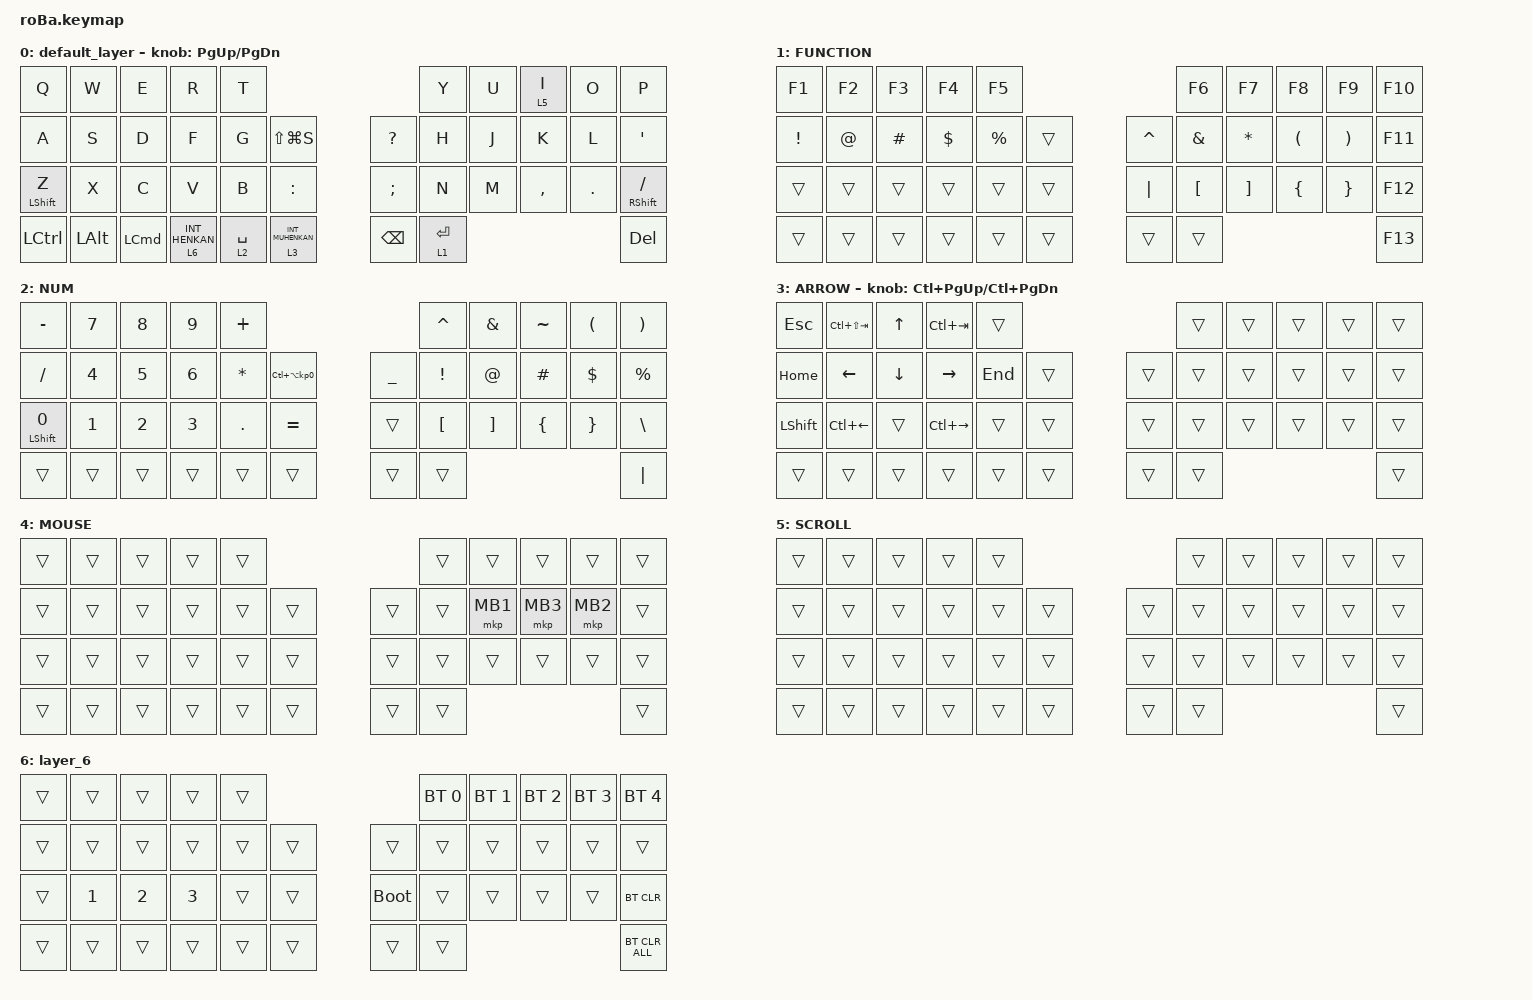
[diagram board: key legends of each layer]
#include <behaviors.dtsi>
#include <dt-bindings/zmk/bt.h>
#include <dt-bindings/zmk/keys.h>
#include <dt-bindings/zmk/pointing.h>

&mt {
    flavor = "balanced";
    quick-tap-ms = <0>;
};

&trackball {
    automouse-layer = <4>;
    scroll-layers = <5>;

    // arrows {
    //     layers = <3>;
    //     bindings =
    //         <&kp RIGHT_ARROW>,
    //         <&kp LEFT_ARROW>,
    //         <&kp UP_ARROW>,
    //         <&kp DOWN_ARROW>;
    //     tick = <10>;
    //     wait-ms = <5>;
    //     tap-ms = <5>;
    // };
};

/ {
    combos {
        compatible = "zmk,combos";

        tab {
            bindings = <&kp TAB>;
            key-positions = <11 10>;
        };

        shift_tab {
            bindings = <&kp LS(TAB)>;
            key-positions = <22 23>;
        };

        muhennkann {
            bindings = <&to_layer_0 INT_MUHENKAN>;
            key-positions = <0 1>;
        };

        double_quotation {
            bindings = <&kp DOUBLE_QUOTES>;
            key-positions = <20 21>;
        };

        eq {
            bindings = <&kp EQUAL>;
            key-positions = <24 25>;
        };
    };

    macros {
        to_layer_0: to_layer_0 {
            compatible = "zmk,behavior-macro-one-param";
            #binding-cells = <1>;
            bindings = <&to 0 &macro_param_1to1 &kp MACRO_PLACEHOLDER>;
            label = "TO_LAYER_0";
        };
    };

    behaviors {
        lt_to_layer_0: lt_to_layer_0 {
            compatible = "zmk,behavior-hold-tap";
            label = "LAYER_TAP_TO_0";
            bindings = <&mo>, <&to_layer_0>;

            #binding-cells = <2>;
            tapping-term-ms = <200>;
        };
    };

    keymap {
        compatible = "zmk,keymap";

        default_layer {
            bindings = <
&kp Q             &kp W         &kp E             &kp R                        &kp T                                                          &kp Y        &kp U  &lt 5 I    &kp O    &kp P
&kp A             &kp S         &kp D             &kp F                        &kp G        &kp LS(LG(S))                      &kp QUESTION   &kp H        &kp J  &kp K      &kp L    &kp SQT
&mt LEFT_SHIFT Z  &kp X         &kp C             &kp V                        &kp B        &kp COLON                          &kp SEMICOLON  &kp N        &kp M  &kp COMMA  &kp DOT  &mt RIGHT_SHIFT SLASH
&kp LCTRL         &kp LEFT_ALT  &kp LEFT_COMMAND  &lt_to_layer_0 6 INT_HENKAN  &lt 2 SPACE  &lt_to_layer_0 3 INT_MUHENKAN      &kp BACKSPACE  &lt 1 ENTER                             &kp DEL
            >;

            sensor-bindings = <&inc_dec_kp PG_UP PAGE_DOWN>;
        };

        FUNCTION {
            bindings = <
&kp F1           &kp F2       &kp F3    &kp F4      &kp F5                              &kp F6            &kp F7             &kp F8                &kp F9                 &kp F10
&kp EXCLAMATION  &kp AT_SIGN  &kp HASH  &kp DOLLAR  &kp PERCENT  &trans      &kp CARET  &kp AMPERSAND     &kp ASTERISK       &kp LEFT_PARENTHESIS  &kp RIGHT_PARENTHESIS  &kp F11
&trans           &trans       &trans    &trans      &trans       &trans      &kp PIPE   &kp LEFT_BRACKET  &kp RIGHT_BRACKET  &kp LEFT_BRACE        &kp RIGHT_BRACE        &kp F12
&trans           &trans       &trans    &trans      &trans       &trans      &trans     &trans                                                                            &kp F13
            >;
        };

        NUM {
            bindings = <
&kp MINUS                &kp NUMBER_7  &kp NUMBER_8  &kp NUMBER_9  &kp PLUS                                                   &kp CARET         &kp AMPERSAND      &kp TILDE       &kp LEFT_PARENTHESIS  &kp RIGHT_PARENTHESIS
&kp SLASH                &kp NUMBER_4  &kp NUMBER_5  &kp NUMBER_6  &kp ASTERISK  &kp LC(LA(KP_NUMBER_0))      &kp UNDERSCORE  &kp EXCLAMATION   &kp AT_SIGN        &kp HASH        &kp DOLLAR            &kp PERCENT
&mt LEFT_SHIFT NUMBER_0  &kp NUMBER_1  &kp NUMBER_2  &kp NUMBER_3  &kp PERIOD    &kp EQUAL                    &trans          &kp LEFT_BRACKET  &kp RIGHT_BRACKET  &kp LEFT_BRACE  &kp RIGHT_BRACE       &kp BACKSLASH
&trans                   &trans        &trans        &trans        &trans        &trans                       &trans          &trans                                                                     &kp PIPE
            >;
        };

        ARROW {
            bindings = <
&kp ESCAPE      &kp LC(LS(TAB))     &kp UP_ARROW    &kp LC(TAB)          &trans                       &trans  &trans  &trans  &trans  &trans
&kp HOME        &kp LEFT_ARROW      &kp DOWN_ARROW  &kp RIGHT_ARROW      &kp END  &trans      &trans  &trans  &trans  &trans  &trans  &trans
&kp LEFT_SHIFT  &kp LC(LEFT_ARROW)  &trans          &kp LC(RIGHT_ARROW)  &trans   &trans      &trans  &trans  &trans  &trans  &trans  &trans
&trans          &trans              &trans          &trans               &trans   &trans      &trans  &trans                          &trans
            >;

            sensor-bindings = <&inc_dec_kp LC(PAGE_UP) LC(PAGE_DOWN)>;
        };

        MOUSE {
            bindings = <
&trans  &trans  &trans  &trans  &trans                      &trans  &trans    &trans    &trans    &trans
&trans  &trans  &trans  &trans  &trans  &trans      &trans  &trans  &mkp MB1  &mkp MB3  &mkp MB2  &trans
&trans  &trans  &trans  &trans  &trans  &trans      &trans  &trans  &trans    &trans    &trans    &trans
&trans  &trans  &trans  &trans  &trans  &trans      &trans  &trans                                &trans
            >;
        };

        SCROLL {
            bindings = <
&trans  &trans  &trans  &trans  &trans                      &trans  &trans  &trans  &trans  &trans
&trans  &trans  &trans  &trans  &trans  &trans      &trans  &trans  &trans  &trans  &trans  &trans
&trans  &trans  &trans  &trans  &trans  &trans      &trans  &trans  &trans  &trans  &trans  &trans
&trans  &trans  &trans  &trans  &trans  &trans      &trans  &trans                          &trans
            >;
        };

        layer_6 {
            bindings = <
&trans  &trans        &trans        &trans        &trans                           &bt BT_SEL 0  &bt BT_SEL 1  &bt BT_SEL 2  &bt BT_SEL 3  &bt BT_SEL 4
&trans  &trans        &trans        &trans        &trans  &trans      &trans       &trans        &trans        &trans        &trans        &trans
&trans  &kp NUMBER_1  &kp NUMBER_2  &kp NUMBER_3  &trans  &trans      &bootloader  &trans        &trans        &trans        &trans        &bt BT_CLR
&trans  &trans        &trans        &trans        &trans  &trans      &trans       &trans                                                  &bt BT_CLR_ALL
            >;
        };
    };
};
